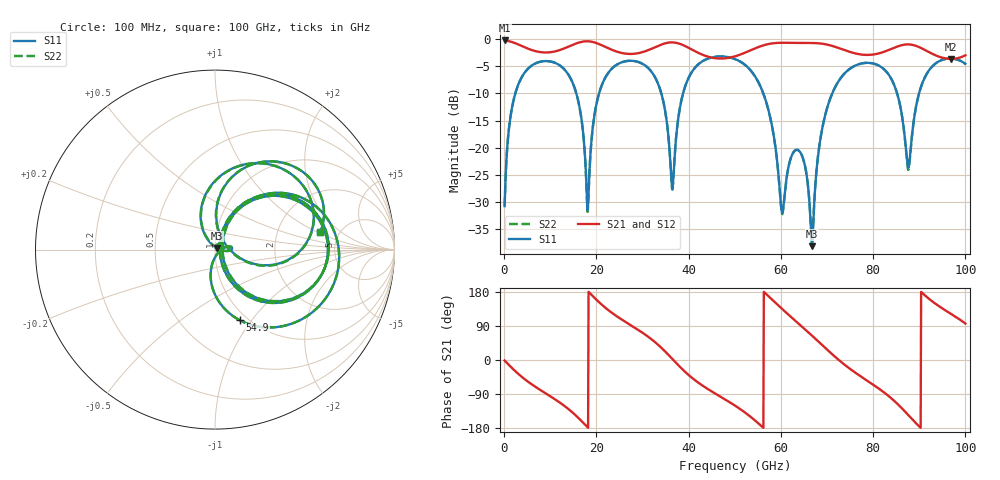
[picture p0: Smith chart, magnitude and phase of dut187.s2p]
! Touchstone file exported from HFSS 2026.1.0
!  File:  C:/ffzhzh/LocalFiles/Ansys_Project_Files/temp_test_TSV_RDL_187_1783477730_48356.aedt
!  Generated:  10:37:56 AM Jul  8, 2026
!  Design:  TSV_RDL
!  Project:  temp_test_TSV_RDL_187_1783477730_48356
! Variables:
!  h_bsmrdl = 2.46um
!  h_ox = 20um
!  h_rdl = 5um
!  h_sub = 60.51um
!  h_tmrdl = 2.05um
!  h_tsv = 60.51um
!  h_via = 3um
!  l_bsmrdl = 698.38um
!  l_sub = 3392.28um
!  l_tmrdl = 196.94um
!  m_sub = 200um
!  pitch = 57.47um
!  r_tsv = 11.43um
!  s_tmrdl = 10um
!  w_bsmrdl = 18.45um
!  w_sub = 500um
!  w_tmrdl = 18.01um
!  x_tsv_center1 = 205.945um
!  x_tsv_center2 = 922.775um
!  x_tsv_center3 = 1137.725um
!  x_tsv_center4 = 1854.555um
!  x_tsv_center5 = 2069.505um
!  x_tsv_center6 = 2786.335um
# GHz S MA R 50.000000
! Terminal data exported
! Port[1] = TM_RDL1_1_T1
! Port[2] = TM_RDL5_1_T1
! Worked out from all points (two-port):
!   1000 points, 100 MHz to 100 GHz, reference 50 ohm
!   highest |S21| = -0.22 dB at 100 MHz (marker M1); lowest = -3.6 dB at 96.9 GHz (marker M2)
!   |S21| within 3 dB of the highest: start of sweep to 44.23 GHz; 49.76 GHz to 94.31 GHz (44.54 GHz wide, 61.8 % of centre) (the widest 2 of 3)
!   lowest |S11| = -38.2 dB at 66.7 GHz (marker M3), VSWR 1.03, Z = 50.9 + j0.901 ohm
!   |S11| at or under -10 dB: 15.65 GHz to 20.57 GHz (4.92 GHz wide, 27.2 % of centre); 34.08 GHz to 38.78 GHz (4.706 GHz wide, 12.9 % of centre); 56.19 GHz to 71.13 GHz (14.94 GHz wide, 23.5 % of centre) (the widest 3 of 5)
!   |S22| runs from -37.0 to -3.2 dB; largest |S21 - S12| = 1.1e-12
!   S11 on the Smith chart (normalised r, x): 100 MHz: 1.05, +0.03; 54.9 GHz: 0.92, -0.88; 100 GHz: 3.58, +1.07
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0.1  0.02888 30.4  0.9753 -1.3  0.9753 -1.3  0.02888 30.4
! Gamma 0 0 0 0
! Port Impedance 50 0 50 0
1.9  0.2576 59.9  0.9371 -23.5  0.9371 -23.5  0.2576 59.9
5.5  0.5516 27.4  0.8091 -60.1  0.8091 -60.1  0.5516 27.4
16.8  0.1793 -64.5  0.9468 -161.3  0.9468 -161.3  0.1792 -64.8
18.2  0.02966 26.4  0.958 -178.8  0.958 -178.8  0.02876 27.2
19.9  0.2397 63.1  0.9262 160.3  0.9262 160.3  0.2395 63.4
23  0.5168 34.9  0.812 127.8  0.812 127.8  0.5166 35.1
33.4  0.3861 -46.4  0.8699 39.9  0.8699 39.9  0.3862 -46.1
36.5  0.04103 9.6  0.9361 2.3  0.9361 2.3  0.04251 9.4
40.3  0.468 42.6  0.8207 -42.8  0.8207 -42.8  0.4681 42.5
50.1  0.6557 -29.8  0.697 -120.7  0.697 -120.7  0.6555 -29.8
54.9  0.4182 -70.5  0.8406 -164.8  0.8406 -164.8  0.418 -70.5
60.2  0.02541 -51.3  0.9287 135.5  0.9287 135.5  0.02484 -51.3
63.8  0.09467 2.2  0.9244 96.3  0.9244 96.3  0.09456 3.0
66.7  0.01236 45.8  0.9245 64.8  0.9245 64.8  0.01416 48.8
68.7  0.1305 121.5  0.9133 42.3  0.9133 42.3  0.1311 120.5
71.8  0.3642 92.6  0.8511 7.9  0.8511 7.9  0.3646 92.2
83.4  0.4701 -1.3  0.7973 -95.5  0.7973 -95.5  0.4701 -1.7
87.6  0.06532 30.9  0.897 -145.0  0.897 -145.0  0.0625 30.6
90.9  0.4169 76.6  0.8103 174.1  0.8103 174.1  0.4166 76.8
96.9  0.6645 30.5  0.6588 121.4  0.6588 121.4  0.6644 30.5
100  0.5936 9.4  0.712 96.2  0.712 96.2  0.5935 9.4
